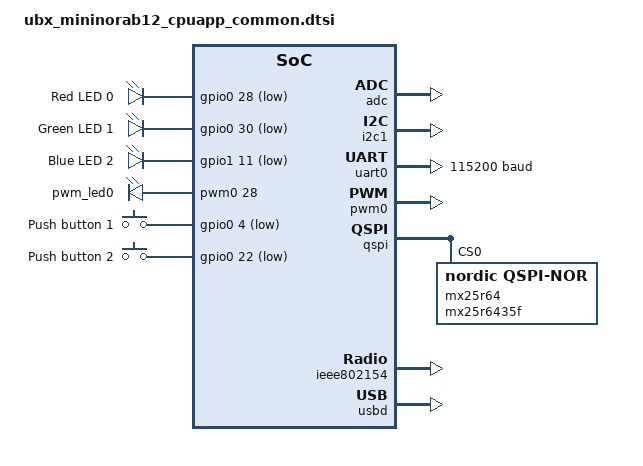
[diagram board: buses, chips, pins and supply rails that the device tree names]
/*
 * u-blox MINI-NORA-B12 board configuration
 *
 * Copyright (c) 2023 u-blox AG
 *
 * SPDX-License-Identifier: Apache-2.0
 */
#include "ubx_mininorab12_cpuapp_common-pinctrl.dtsi"
#include <zephyr/dt-bindings/input/input-event-codes.h>

/ {

	chosen {
		zephyr,console = &uart0;
		zephyr,shell-uart = &uart0;
		zephyr,uart-mcumgr = &uart0;
		zephyr,bt-mon-uart = &uart0;
		zephyr,bt-c2h-uart = &uart0;
		zephyr,bt-hci-ipc = &ipc0;
		nordic,802154-spinel-ipc = &ipc0;
		zephyr,ieee802154 = &ieee802154;
	};

	leds {
		compatible = "gpio-leds";
		led0: led_0 {
			gpios = <&gpio0 28 GPIO_ACTIVE_LOW>;
			label = "Red LED 0";
		};
		led1: led_1 {
			gpios = <&gpio0 30 GPIO_ACTIVE_LOW>;
			label = "Green LED 1";
		};
		led2: led_2 {
			gpios = <&gpio1 11 GPIO_ACTIVE_LOW>;
			label = "Blue LED 2";
		};
	};

	pwmleds {
		compatible = "pwm-leds";
		pwm_led0: pwm_led_0 {
			pwms = <&pwm0 28 PWM_MSEC(20) PWM_POLARITY_INVERTED>;
		};
	};

	buttons {
		compatible = "gpio-keys";
		button0: button_0 {
			gpios = <&gpio0 4 (GPIO_PULL_UP | GPIO_ACTIVE_LOW)>;
			label = "Push button 1";
			zephyr,code = <INPUT_KEY_0>;
		};
		button1: button_1 {
			gpios = <&gpio0 22 (GPIO_PULL_UP | GPIO_ACTIVE_LOW)>;
			label = "Push button 2";
			zephyr,code = <INPUT_KEY_1>;
		};
	};

	gpio_fwd: nrf-gpio-forwarder {
		compatible = "nordic,nrf-gpio-forwarder";
		status = "okay";
		uart {
			gpios = <&gpio1 1 0>, <&gpio1 0 0>, <&gpio0 11 0>, <&gpio0 10 0>;
		};
		/* Forward pins for NORA-B12 FEM */
		norab12fem {
			gpios = <&gpio1 8 0>, <&gpio1 9 0>;
		};
	};

	/* These aliases are provided for compatibility with samples */
	aliases {
		led0 = &led0;
		led1 = &led1;
		led2 = &led2;
		pwm-led0 = &pwm_led0;
		sw0 = &button0;
		sw1 = &button1;
		bootloader-led0 = &led0;
		mcuboot-button0 = &button0;
		mcuboot-led0 = &led0;
		watchdog0 = &wdt0;
		spi-flash0 = &mx25r64;
	};
};

&adc {
	status = "okay";
};

&gpiote {
	status = "okay";
};

&gpio0 {
	status = "okay";
};

&gpio1 {
	status = "okay";
};

&i2c1 {
	compatible = "nordic,nrf-twim";
	status = "okay";
	pinctrl-0 = <&i2c1_default>;
	pinctrl-1 = <&i2c1_sleep>;
	pinctrl-names = "default", "sleep";
};

&uart0 {
	status = "okay";
	current-speed = <115200>;
	pinctrl-0 = <&uart0_default>;
	pinctrl-1 = <&uart0_sleep>;
	pinctrl-names = "default", "sleep";
};

&pwm0 {
	status = "okay";
	pinctrl-0 = <&pwm0_default>;
	pinctrl-1 = <&pwm0_sleep>;
	pinctrl-names = "default", "sleep";
};

&qspi {
	status = "okay";
	pinctrl-0 = <&qspi_default>;
	pinctrl-1 = <&qspi_sleep>;
	pinctrl-names = "default", "sleep";
	mx25r64: mx25r6435f@0 {
		compatible = "nordic,qspi-nor";
		reg = <0>;
		/* MX25R64 supports only pp and pp4io */
		writeoc = "pp4io";
		/* MX25R64 supports all readoc options */
		readoc = "read4io";
		sck-frequency = <8000000>;
		jedec-id = [c2 28 17];
		sfdp-bfp = [
			e5 20 f1 ff  ff ff ff 03  44 eb 08 6b  08 3b 04 bb
			ee ff ff ff  ff ff 00 ff  ff ff 00 ff  0c 20 0f 52
			10 d8 00 ff  23 72 f5 00  82 ed 04 cc  44 83 68 44
			30 b0 30 b0  f7 c4 d5 5c  00 be 29 ff  f0 d0 ff ff
		];
		size = <67108864>;
		has-dpd;
		t-enter-dpd = <10000>;
		t-exit-dpd = <35000>;
	};
};

&flash0 {

	partitions {
		compatible = "fixed-partitions";
		#address-cells = <1>;
		#size-cells = <1>;

		boot_partition: partition@0 {
			label = "mcuboot";
			reg = <0x00000000 0x00010000>;
		};
		slot0_partition: partition@10000 {
			label = "image-0";
		};
		slot0_ns_partition: partition@50000 {
			label = "image-0-nonsecure";
		};
		slot1_partition: partition@80000 {
			label = "image-1";
		};
		slot1_ns_partition: partition@c0000 {
			label = "image-1-nonsecure";
		};
		/* 0xf0000 to 0xf7fff reserved for TF-M partitions */
		storage_partition: partition@f8000 {
			label = "storage";
			reg = <0x000f8000 0x00008000>;
		};
	};
};

&ieee802154 {
	status = "okay";
};

zephyr_udc0: &usbd {
	compatible = "nordic,nrf-usbd";
	status = "okay";
};

/ {

	reserved-memory {
		#address-cells = <1>;
		#size-cells = <1>;
		ranges;

		sram0_image: image@20000000 {
			/* Zephyr image(s) memory */
		};

		sram0_s: image_s@20000000 {
			/* Secure image memory */
		};

		sram0_ns: image_ns@20040000 {
			/* Non-Secure image memory */
		};
	};
};

/* Include partition configuration file */
#include "ubx_mininorab12_cpuapp_partition_conf.dtsi"
